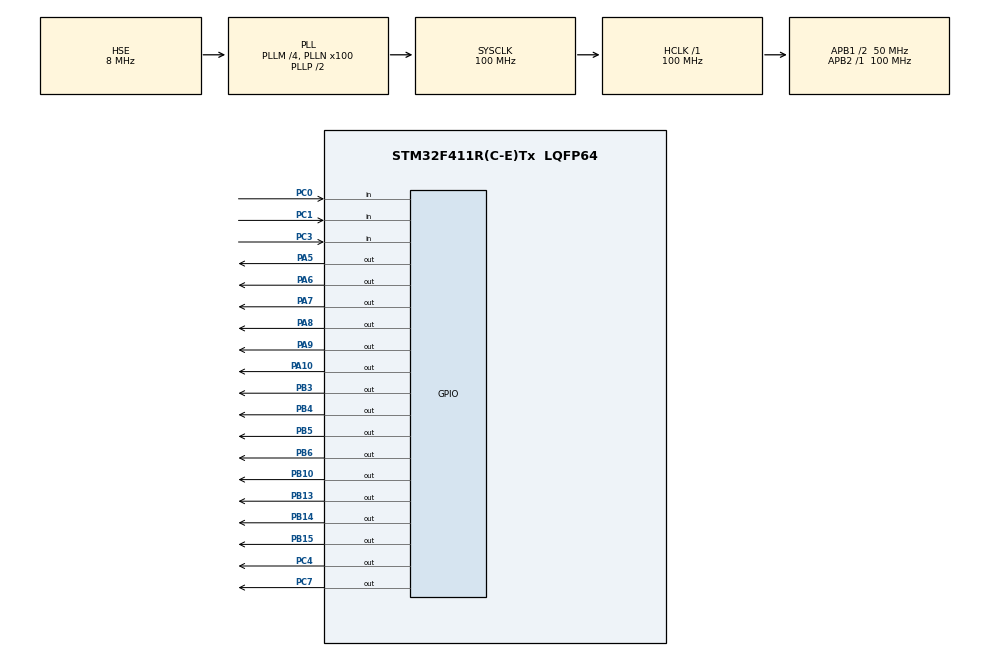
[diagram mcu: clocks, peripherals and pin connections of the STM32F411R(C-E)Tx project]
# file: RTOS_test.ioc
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FREERTOS.Tasks01=defaultTask,0,128,StartDefaultTask,Default,NULL,Dynamic,NULL,NULL;myTask02,-3,128,StartTask02,Default,NULL,Dynamic,NULL,NULL;myTask03,-3,128,StartTask03,Default,NULL,Dynamic,NULL,NULL;myTask04,-3,128,StartTask04,Default,NULL,Dynamic,NULL,NULL
FREERTOS.configUSE_NEWLIB_REENTRANT=1
Mcu.Family=STM32F4
Mcu.Name=STM32F411R(C-E)Tx
Mcu.Package=LQFP64
NVIC.PriorityGroup=NVIC_PRIORITYGROUP_4
NVIC.TIM1_UP_TIM10_IRQn=true\:15\:0\:false\:false\:true\:false\:false\:true\:true
NVIC.TimeBase=TIM1_UP_TIM10_IRQn
NVIC.TimeBaseIP=TIM10
PA10.Signal=GPIO_Output
PA13.Mode=Serial_Wire
PA13.Signal=SYS_JTMS-SWDIO
PA14.Mode=Serial_Wire
PA14.Signal=SYS_JTCK-SWCLK
PA5.Signal=GPIO_Output
PA6.Signal=GPIO_Output
PA7.Signal=GPIO_Output
PA8.Signal=GPIO_Output
PA9.Signal=GPIO_Output
PB10.Signal=GPIO_Output
PB13.Signal=GPIO_Output
PB14.Signal=GPIO_Output
PB15.Signal=GPIO_Output
PB3.Signal=GPIO_Output
PB4.Signal=GPIO_Output
PB5.Signal=GPIO_Output
PB6.Signal=GPIO_Output
PC0.Signal=GPIO_Input
PC1.Signal=GPIO_Input
PC3.Signal=GPIO_Input
PC4.Signal=GPIO_Output
PC7.Signal=GPIO_Output
PH0\ -\ OSC_IN.Mode=HSE-External-Oscillator
PH0\ -\ OSC_IN.Signal=RCC_OSC_IN
PH1\ -\ OSC_OUT.Mode=HSE-External-Oscillator
PH1\ -\ OSC_OUT.Signal=RCC_OSC_OUT
ProjectManager.HeapSize=0x200
ProjectManager.StackSize=0x400
ProjectManager.TargetToolchain=STM32CubeIDE
RCC.48MHZClocksFreq_Value=50000000
RCC.AHBFreq_Value=100000000
RCC.APB1CLKDivider=RCC_HCLK_DIV2
RCC.APB1Freq_Value=50000000
RCC.APB1TimFreq_Value=100000000
RCC.APB2Freq_Value=100000000
RCC.APB2TimFreq_Value=100000000
RCC.CortexFreq_Value=100000000
RCC.HCLKFreq_Value=100000000
RCC.HSE_VALUE=8000000
RCC.HSI_VALUE=16000000
RCC.LSE_VALUE=32768
RCC.PLLM=4
RCC.PLLN=100
RCC.PLLSourceVirtual=RCC_PLLSOURCE_HSE
RCC.SYSCLKFreq_VALUE=100000000
RCC.SYSCLKSource=RCC_SYSCLKSOURCE_PLLCLK
RCC.VCOOutputFreq_Value=200000000
VP_FREERTOS_VS_CMSIS_V1.Mode=CMSIS_V1
VP_SYS_VS_tim10.Mode=TIM10
board=custom

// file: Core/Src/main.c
/* USER CODE BEGIN Header */
/**
 ******************************************************************************
 * @file           : main.c
 * @brief          : Main program body
 ******************************************************************************
 * @attention
 *
 * Copyright (c) 2026 STMicroelectronics.
 * All rights reserved.
 *
 * This software is licensed under terms that can be found in the LICENSE file
 * in the root directory of this software component.
 * If no LICENSE file comes with this software, it is provided AS-IS.
 *
 ******************************************************************************
 */
/* USER CODE END Header */
#include "main.h"
#include "cmsis_os.h"

/* USER CODE BEGIN Includes */
#include <stdio.h>
#include "driver/fnd/fnd.h"
#include "driver/button/button.h"
#include "ap/task/counter/counter.h"
#include "ap/task/display/display.h"
#include "ap/task/event/event.h"

/* USER CODE END Includes */

osThreadId defaultTaskHandle;
osThreadId myTask02Handle;
osThreadId myTask03Handle;
osThreadId myTask04Handle;

void SystemClock_Config(void);
static void MX_GPIO_Init(void);
void StartDefaultTask(void const *argument);
void StartTask02(void const *argument);
void StartTask03(void const *argument);
void StartTask04(void const *argument);

/* USER CODE BEGIN 0 */

int __io_putchar(int ch) {
	// print문이 어디를 통해서 나갈지 결정
//	HAL_UART_Transmit(&huart2, (uint8_t*) &ch, 1, HAL_MAX_DELAY);
	ITM_SendChar(ch); // 디버그 모드로 ch 보내는 명령어
	return ch;
}

/* USER CODE END 0 */

int main(void) {

	/* MCU Configuration--------------------------------------------------------*/

	/* Reset of all peripherals, Initializes the Flash interface and the Systick. */
	HAL_Init();

	/* Configure the system clock */
	SystemClock_Config();

	/* Initialize all configured peripherals */
	MX_GPIO_Init();

	/* Create the thread(s) */
	/* definition and creation of defaultTask */
	osThreadDef(defaultTask, StartDefaultTask, osPriorityNormal, 0, 128);
	defaultTaskHandle = osThreadCreate(osThread(defaultTask), NULL);

	/* definition and creation of myTask02 */
	osThreadDef(myTask02, StartTask02, osPriorityIdle, 0, 128);
	myTask02Handle = osThreadCreate(osThread(myTask02), NULL);

	/* definition and creation of myTask03 */
	osThreadDef(myTask03, StartTask03, osPriorityIdle, 0, 128);
	myTask03Handle = osThreadCreate(osThread(myTask03), NULL);

	/* definition and creation of myTask04 */
	osThreadDef(myTask04, StartTask04, osPriorityIdle, 0, 128);
	myTask04Handle = osThreadCreate(osThread(myTask04), NULL);

	/* Start scheduler */
	osKernelStart();

	/* We should never get here as control is now taken by the scheduler */

	/* Infinite loop */
	while (1) {

	}
}

void SystemClock_Config(void) {
	RCC_OscInitTypeDef RCC_OscInitStruct = { 0 };
	RCC_ClkInitTypeDef RCC_ClkInitStruct = { 0 };

	/** Configure the main internal regulator output voltage
	 */
	__HAL_RCC_PWR_CLK_ENABLE();
	__HAL_PWR_VOLTAGESCALING_CONFIG(PWR_REGULATOR_VOLTAGE_SCALE1);

	/** Initializes the RCC Oscillators according to the specified parameters
	 * in the RCC_OscInitTypeDef structure.
	 */
	RCC_OscInitStruct.OscillatorType = RCC_OSCILLATORTYPE_HSE;
	RCC_OscInitStruct.HSEState = RCC_HSE_ON;
	RCC_OscInitStruct.PLL.PLLState = RCC_PLL_ON;
	RCC_OscInitStruct.PLL.PLLSource = RCC_PLLSOURCE_HSE;
	RCC_OscInitStruct.PLL.PLLM = 4;
	RCC_OscInitStruct.PLL.PLLN = 100;
	RCC_OscInitStruct.PLL.PLLP = RCC_PLLP_DIV2;
	RCC_OscInitStruct.PLL.PLLQ = 4;
	if (HAL_RCC_OscConfig(&RCC_OscInitStruct) != HAL_OK) {
		Error_Handler();
	}

	/** Initializes the CPU, AHB and APB buses clocks
	 */
	RCC_ClkInitStruct.ClockType = RCC_CLOCKTYPE_HCLK | RCC_CLOCKTYPE_SYSCLK
			| RCC_CLOCKTYPE_PCLK1 | RCC_CLOCKTYPE_PCLK2;
	RCC_ClkInitStruct.SYSCLKSource = RCC_SYSCLKSOURCE_PLLCLK;
	RCC_ClkInitStruct.AHBCLKDivider = RCC_SYSCLK_DIV1;
	RCC_ClkInitStruct.APB1CLKDivider = RCC_HCLK_DIV2;
	RCC_ClkInitStruct.APB2CLKDivider = RCC_HCLK_DIV1;

	if (HAL_RCC_ClockConfig(&RCC_ClkInitStruct, FLASH_LATENCY_3) != HAL_OK) {
		Error_Handler();
	}
}

static void MX_GPIO_Init(void) {
	GPIO_InitTypeDef GPIO_InitStruct = { 0 };

	/* GPIO Ports Clock Enable */
	__HAL_RCC_GPIOH_CLK_ENABLE();
	__HAL_RCC_GPIOC_CLK_ENABLE();
	__HAL_RCC_GPIOA_CLK_ENABLE();
	__HAL_RCC_GPIOB_CLK_ENABLE();

	/*Configure GPIO pin Output Level */
	HAL_GPIO_WritePin(GPIOA,
			GPIO_PIN_5 | GPIO_PIN_6 | GPIO_PIN_7 | GPIO_PIN_8 | GPIO_PIN_9
					| GPIO_PIN_10, GPIO_PIN_RESET);

	/*Configure GPIO pin Output Level */
	HAL_GPIO_WritePin(GPIOC, GPIO_PIN_4 | GPIO_PIN_7, GPIO_PIN_RESET);

	/*Configure GPIO pin Output Level */
	HAL_GPIO_WritePin(GPIOB,
			GPIO_PIN_10 | GPIO_PIN_13 | GPIO_PIN_14 | GPIO_PIN_15 | GPIO_PIN_3
					| GPIO_PIN_4 | GPIO_PIN_5 | GPIO_PIN_6, GPIO_PIN_RESET);

	/*Configure GPIO pins : PC0 PC1 PC3 */
	GPIO_InitStruct.Pin = GPIO_PIN_0 | GPIO_PIN_1 | GPIO_PIN_3;
	GPIO_InitStruct.Mode = GPIO_MODE_INPUT;
	GPIO_InitStruct.Pull = GPIO_NOPULL;
	HAL_GPIO_Init(GPIOC, &GPIO_InitStruct);

	/*Configure GPIO pins : PA5 PA6 PA7 PA8
	 PA9 PA10 */
	GPIO_InitStruct.Pin = GPIO_PIN_5 | GPIO_PIN_6 | GPIO_PIN_7 | GPIO_PIN_8
			| GPIO_PIN_9 | GPIO_PIN_10;
	GPIO_InitStruct.Mode = GPIO_MODE_OUTPUT_PP;
	GPIO_InitStruct.Pull = GPIO_NOPULL;
	GPIO_InitStruct.Speed = GPIO_SPEED_FREQ_LOW;
	HAL_GPIO_Init(GPIOA, &GPIO_InitStruct);

	/*Configure GPIO pins : PC4 PC7 */
	GPIO_InitStruct.Pin = GPIO_PIN_4 | GPIO_PIN_7;
	GPIO_InitStruct.Mode = GPIO_MODE_OUTPUT_PP;
	GPIO_InitStruct.Pull = GPIO_NOPULL;
	GPIO_InitStruct.Speed = GPIO_SPEED_FREQ_LOW;
	HAL_GPIO_Init(GPIOC, &GPIO_InitStruct);

	/*Configure GPIO pins : PB10 PB13 PB14 PB15
	 PB3 PB4 PB5 PB6 */
	GPIO_InitStruct.Pin = GPIO_PIN_10 | GPIO_PIN_13 | GPIO_PIN_14 | GPIO_PIN_15
			| GPIO_PIN_3 | GPIO_PIN_4 | GPIO_PIN_5 | GPIO_PIN_6;
	GPIO_InitStruct.Mode = GPIO_MODE_OUTPUT_PP;
	GPIO_InitStruct.Pull = GPIO_NOPULL;
	GPIO_InitStruct.Speed = GPIO_SPEED_FREQ_LOW;
	HAL_GPIO_Init(GPIOB, &GPIO_InitStruct);

}

/* USER CODE BEGIN 4 */
btn_status_t btn_status;

/* USER CODE END 4 */

void StartDefaultTask(void const *argument) {
	/* USER CODE BEGIN 5 */
	/* Infinite loop */
	for (;;) {
		HAL_GPIO_TogglePin(GPIOB, GPIO_PIN_15);
		// hal_gettick == osKernelSysTick 비슷한 기능
		printf("Task1: %lu\n", osKernelSysTick());
		osDelay(300); // ms 단위
	}
	/* USER CODE END 5 */
}

void StartTask02(void const *argument) {
	/* USER CODE BEGIN StartTask02 */
	/* Infinite loop */
	for (;;) {
		display_task();
		osDelay(1); // ms 단위
	}
	/* USER CODE END StartTask02 */
}

void StartTask03(void const *argument) {
	/* USER CODE BEGIN StartTask03 */
	counter_init();

	/* Infinite loop */
	for (;;) {
		counter_task();
		osDelay(100); // ms 단위
	}
	/* USER CODE END StartTask03 */
}

void StartTask04(void const *argument) {
	/* USER CODE BEGIN StartTask04 */
	event_init();

	/* Infinite loop */
	for (;;) {
		event_task();
		osDelay(10); // 10ms 간격으로 버튼 입력 체크
		// button_getState 함수 내부 debounce를 위한 딜레이 없이 외부에서 딜레이 처리
	}
	/* USER CODE END StartTask04 */
}

void HAL_TIM_PeriodElapsedCallback(TIM_HandleTypeDef *htim) {
	if (htim->Instance == TIM10) {
		HAL_IncTick();
	}
}

void Error_Handler(void) {
	__disable_irq();
	while (1) {
	}
}
